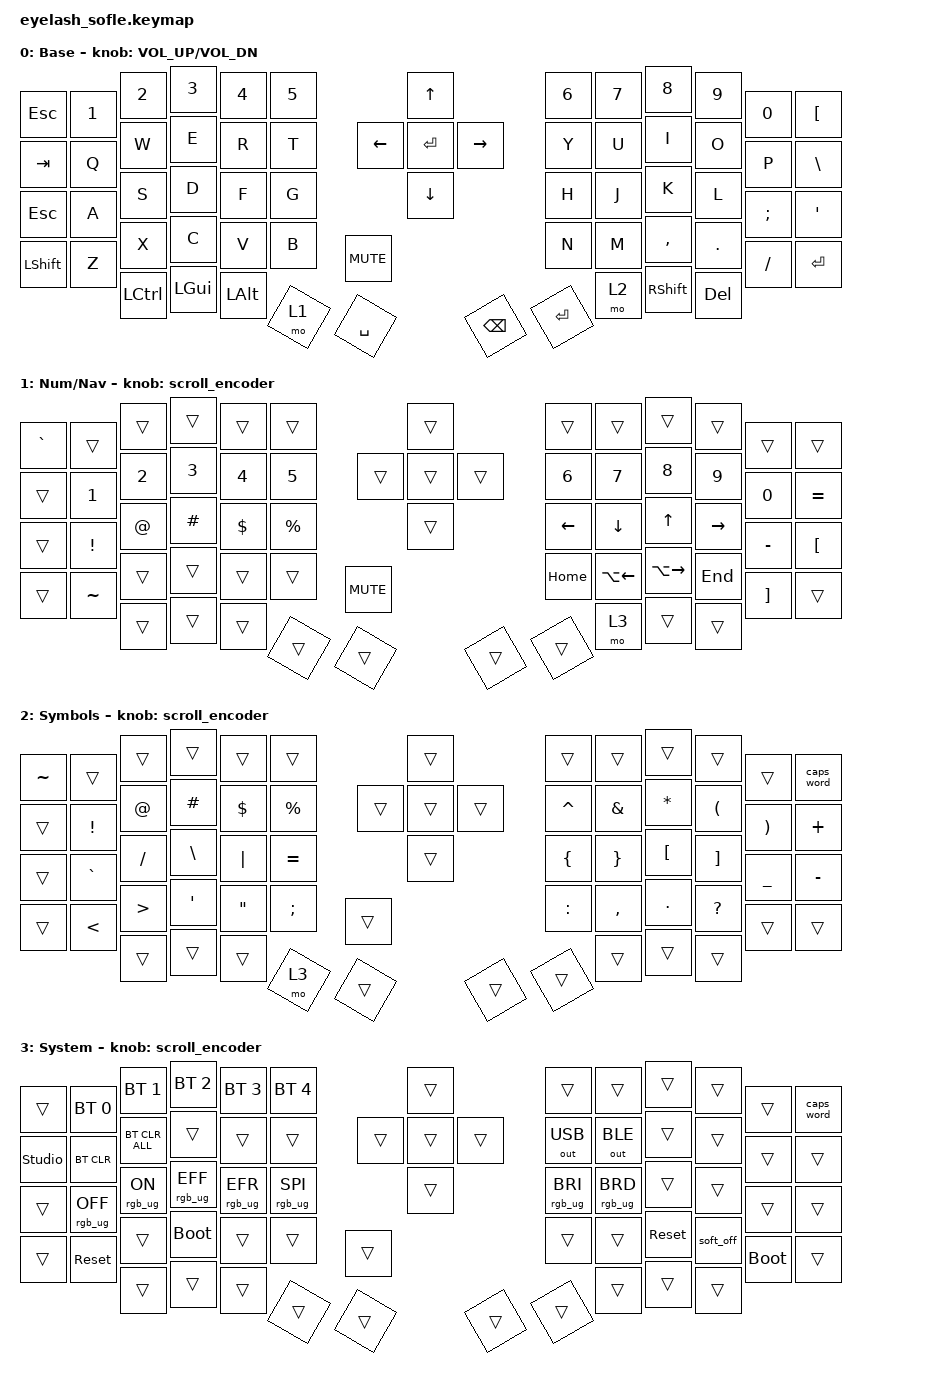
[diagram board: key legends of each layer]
#define ZMK_POINTING_DEFAULT_MOVE_VAL 1200  // 600
#define ZMK_POINTING_DEFAULT_SCRL_VAL 25   // 10

#include <input/processors.dtsi>
#include <zephyr/dt-bindings/input/input-event-codes.h>
#include <behaviors.dtsi>
#include <dt-bindings/zmk/bt.h>
#include <dt-bindings/zmk/keys.h>
#include <dt-bindings/zmk/outputs.h>
#include <dt-bindings/zmk/pointing.h>
#include <dt-bindings/zmk/rgb.h>

&mmv_input_listener { input-processors = <&zip_xy_scaler 2 1>; };

&msc_input_listener { input-processors = <&zip_scroll_scaler 2 1>; };

&msc {
    acceleration-exponent = <1>;
    time-to-max-speed-ms = <100>;
    delay-ms = <0>;
};

&mmv {
    time-to-max-speed-ms = <500>;
    acceleration-exponent = <1>;
    trigger-period-ms = <16>;
};

/ {
    scroll_encoder: scroll_encoder {
        compatible = "zmk,behavior-sensor-rotate";
        #sensor-binding-cells = <0>;
        bindings = <&msc SCRL_DOWN>, <&msc SCRL_UP>;

        tap-ms = <100>;
    };

    behaviors {
    };

    macros {
        fat_arrow: fat_arrow {
            compatible = "zmk,behavior-macro";
            #binding-cells = <0>;
            bindings = <&kp EQUAL &kp GT>;
        };

        thin_arrow: thin_arrow {
            compatible = "zmk,behavior-macro";
            #binding-cells = <0>;
            bindings = <&kp MINUS &kp GT>;
        };

        double_colon: double_colon {
            compatible = "zmk,behavior-macro";
            #binding-cells = <0>;
            bindings = <&kp COLON &kp COLON>;
        };
    };

    combos {
        compatible = "zmk,combos";

        combo_escape {
            timeout-ms = <30>;
            key-positions = <34 35>;
            bindings = <&kp ESC>;
            layers = <0>;
        };

        combo_tab {
            timeout-ms = <30>;
            key-positions = <14 15>;
            bindings = <&kp TAB>;
            layers = <0>;
        };

        combo_backspace {
            timeout-ms = <30>;
            key-positions = <23 24>;
            bindings = <&kp BACKSPACE>;
            layers = <0>;
        };

        combo_delete {
            timeout-ms = <30>;
            key-positions = <36 37>;
            bindings = <&kp DELETE>;
            layers = <0>;
        };

        combo_left_bracket {
            timeout-ms = <30>;
            key-positions = <41 42>;
            bindings = <&kp LEFT_BRACKET>;
            layers = <0>;
        };

        combo_right_bracket {
            timeout-ms = <30>;
            key-positions = <48 49>;
            bindings = <&kp RIGHT_BRACKET>;
            layers = <0>;
        };

        combo_left_brace {
            timeout-ms = <30>;
            key-positions = <43 44>;
            bindings = <&kp LBRC>;
            layers = <0>;
        };

        combo_right_brace {
            timeout-ms = <30>;
            key-positions = <46 47>;
            bindings = <&kp RBRC>;
            layers = <0>;
        };

        combo_fat_arrow {
            timeout-ms = <30>;
            key-positions = <29 30>;
            bindings = <&fat_arrow>;
            layers = <0>;
        };

        combo_thin_arrow {
            timeout-ms = <30>;
            key-positions = <30 31>;
            bindings = <&thin_arrow>;
            layers = <0>;
        };

        combo_double_colon {
            timeout-ms = <30>;
            key-positions = <35 36>;
            bindings = <&double_colon>;
            layers = <0>;
        };
    };

    keymap {
        compatible = "zmk,keymap";

        layer0 {
            bindings = <
&kp ESC     &kp N1     &kp N2        &kp N3        &kp N4  &kp N5       &kp UP_ARROW     &kp N6         &kp N7     &kp N8     &kp N9           &kp N0      &kp LEFT_BRACKET
&kp TAB     &kp Q      &kp W         &kp E         &kp R   &kp T        &kp DOWN_ARROW   &kp Y          &kp U      &kp I      &kp O            &kp P       &kp BSLH
&kp ESC     &kp A      &kp S         &kp D         &kp F   &kp G        &kp LEFT_ARROW   &kp H          &kp J      &kp K      &kp L            &kp SEMI    &kp APOS
&kp LSHFT   &kp Z      &kp X         &kp C         &kp V   &kp B        &kp RIGHT_ARROW  &kp N          &kp M      &kp COMMA  &kp DOT          &kp FSLH    &kp ENTER
&kp C_MUTE  &kp LCTRL  &kp LEFT_GUI  &kp LEFT_ALT  &mo 1   &kp SPACE    &kp ENTER        &kp BACKSPACE  &kp ENTER  &mo 2      &kp RIGHT_SHIFT  &kp DELETE
            >;

            sensor-bindings = <&inc_dec_kp C_VOLUME_UP C_VOL_DN>;
            display-name = "Base";
        };

        layer_1 {
            bindings = <
&kp GRAVE   &trans    &trans    &trans    &trans  &trans    &trans  &trans          &trans           &trans    &trans     &trans    &trans
&trans      &kp N1    &kp N2    &kp N3    &kp N4  &kp N5    &trans  &kp N6          &kp N7           &kp N8    &kp N9     &kp N0    &kp EQUAL
&trans      &kp EXCL  &kp AT    &kp HASH  &kp DLLR &kp PRCNT &trans  &kp LEFT        &kp DOWN         &kp UP    &kp RIGHT  &kp MINUS &kp LEFT_BRACKET
&trans      &kp TILDE &trans    &trans    &trans  &trans    &trans  &kp HOME        &kp LA(LEFT)     &kp LA(RIGHT) &kp END &kp RIGHT_BRACKET &trans
&kp C_MUTE  &trans    &trans    &trans    &trans  &trans    &trans  &trans          &trans           &mo 3     &trans     &trans
            >;

            display-name = "Num/Nav";
            sensor-bindings = <&scroll_encoder>;
        };

        layer_2 {
            bindings = <
&kp TILDE  &trans    &trans    &trans    &trans    &trans     &trans  &trans     &trans     &trans         &trans             &trans     &caps_word
&trans     &kp EXCL  &kp AT    &kp HASH  &kp DLLR  &kp PRCNT  &trans  &kp CARET  &kp AMPS   &kp ASTRK      &kp LPAR           &kp RPAR   &kp PLUS
&trans     &kp GRAVE &kp FSLH  &kp BSLH  &kp PIPE  &kp EQUAL  &trans  &kp LBRC   &kp RBRC   &kp LEFT_BRACKET &kp RIGHT_BRACKET &kp UNDER  &kp MINUS
&trans     &kp LT    &kp GT    &kp APOS  &kp DQT   &kp SEMI   &trans  &kp COLON  &kp COMMA  &kp DOT        &kp QMARK          &trans     &trans
&trans     &trans    &trans    &trans    &mo 3     &trans     &trans  &trans     &trans     &trans         &trans             &trans
            >;

            display-name = "Symbols";
            sensor-bindings = <&scroll_encoder>;
        };

        layer_3 {
            bindings = <
&trans          &bt BT_SEL 0  &bt BT_SEL 1    &bt BT_SEL 2  &bt BT_SEL 3  &bt BT_SEL 4    &trans  &trans       &trans       &trans       &trans      &trans       &caps_word
&studio_unlock  &bt BT_CLR    &bt BT_CLR_ALL  &trans        &trans        &trans          &trans  &out OUT_USB &out OUT_BLE &trans       &trans      &trans       &trans
&trans          &rgb_ug RGB_OFF &rgb_ug RGB_ON &rgb_ug RGB_EFF &rgb_ug RGB_EFR &rgb_ug RGB_SPI &trans &rgb_ug RGB_BRI &rgb_ug RGB_BRD &trans &trans &trans &trans
&trans          &sys_reset    &trans          &bootloader   &trans        &trans          &trans  &trans       &trans       &sys_reset   &soft_off   &bootloader  &trans
&trans          &trans        &trans          &trans        &trans        &trans          &trans  &trans       &trans       &trans       &trans      &trans
            >;
            display-name = "System";
            sensor-bindings = <&scroll_encoder>;
        };
    };
};
